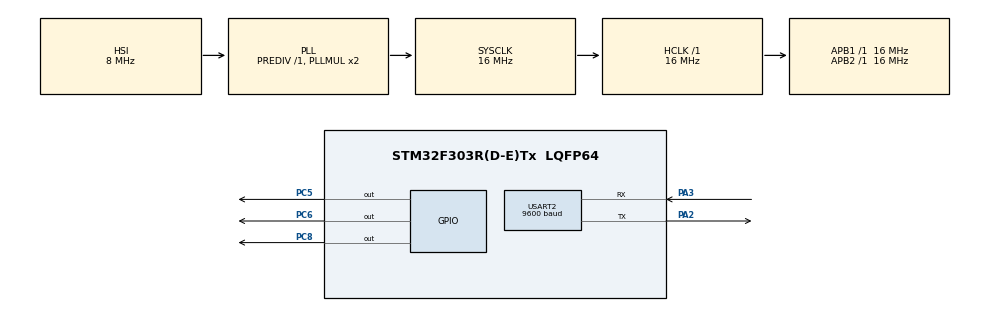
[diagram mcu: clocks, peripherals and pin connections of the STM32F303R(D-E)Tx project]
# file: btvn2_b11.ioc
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Mcu.Family=STM32F3
Mcu.Name=STM32F303R(D-E)Tx
Mcu.Package=LQFP64
NVIC.PriorityGroup=NVIC_PRIORITYGROUP_4
NVIC.TIM4_IRQn=true\:0\:0\:false\:false\:true\:true\:true
NVIC.USART2_IRQn=true\:0\:0\:false\:false\:true\:true\:true
PA13.Mode=Serial_Wire
PA13.Signal=SYS_JTMS-SWDIO
PA14.Mode=Serial_Wire
PA14.Signal=SYS_JTCK-SWCLK
PA2.Mode=Asynchronous
PA2.Signal=USART2_TX
PA3.Mode=Asynchronous
PA3.Signal=USART2_RX
PC5.Signal=GPIO_Output
PC6.Signal=GPIO_Output
PC8.Signal=GPIO_Output
ProjectManager.HeapSize=0x200
ProjectManager.StackSize=0x400
ProjectManager.TargetToolchain=STM32CubeIDE
RCC.AHBFreq_Value=16000000
RCC.APB1Freq_Value=16000000
RCC.APB1TimFreq_Value=16000000
RCC.APB2Freq_Value=16000000
RCC.APB2TimFreq_Value=16000000
RCC.CortexFreq_Value=16000000
RCC.HCLKFreq_Value=16000000
RCC.HSE_VALUE=8000000
RCC.HSI_VALUE=8000000
RCC.LSE_VALUE=32768
RCC.SYSCLKFreq_VALUE=16000000
RCC.SYSCLKSourceVirtual=RCC_SYSCLKSOURCE_PLLCLK
RCC.USBFreq_Value=16000000
TIM4.Period=999
TIM4.Prescaler=15999
USART2.BaudRate=9600
USART2.VirtualMode-Asynchronous=VM_ASYNC
VP_TIM4_VS_ClockSourceINT.Mode=Internal
board=custom

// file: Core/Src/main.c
/* USER CODE BEGIN Header */
/**
  ******************************************************************************
  * @file           : main.c
  * @brief          : Main program body
  ******************************************************************************
  * @attention
  *
  * <h2><center>&copy; Copyright (c) 2021 STMicroelectronics.
  * All rights reserved.</center></h2>
  *
  * This software component is licensed by ST under BSD 3-Clause license,
  * the "License"; You may not use this file except in compliance with the
  * License. You may obtain a copy of the License at:
  *                        opensource.org/licenses/BSD-3-Clause
  *
  ******************************************************************************
  */
/* USER CODE END Header */
#include "main.h"

/* USER CODE BEGIN Includes */
#include<stdlib.h>
/* USER CODE END Includes */

TIM_HandleTypeDef htim4;

UART_HandleTypeDef huart2;

/* USER CODE BEGIN PV */
uint8_t count = 0;
uint8_t count1 = 0;
uint8_t buff[10] = {0};
uint8_t rx_data[2]= {0};
uint8_t buff_red[3]= {0};
uint8_t buff_yellow[3]= {0};
uint8_t buff_green[3]= {0};
uint8_t red = 0;
uint8_t green = 0;
uint8_t yellow = 0;
/* USER CODE END PV */

void SystemClock_Config(void);
static void MX_GPIO_Init(void);
static void MX_TIM4_Init(void);
static void MX_USART2_UART_Init(void);

/* USER CODE BEGIN 0 */
void HAL_TIM_PeriodElapsedCallback(TIM_HandleTypeDef *htim){
	count++;
}
void HAL_UART_RxCpltCallback(UART_HandleTypeDef *huart){
	buff[count1] = rx_data[0];
	count1 ++;
	buff_red[0]= buff[0];
	buff_red[1]= buff[1];
	buff_yellow[0]= buff[2];
	buff_yellow[1]= buff[3];
	buff_green[0]= buff[4];
	buff_green[1]= buff[5];
	red = atoi(buff_red);
	yellow = atoi(buff_yellow);
	green = atoi(buff_green);
	if(rx_data[0] == '\r'){
		for(uint8_t i= 0;i<10;i++){
			buff[i]=0;
		}
		count1 =0;
	}
	HAL_UART_Receive_IT(&huart2,rx_data,1);
}
/* USER CODE END 0 */

int main(void)
{

  /* MCU Configuration--------------------------------------------------------*/

  /* Reset of all peripherals, Initializes the Flash interface and the Systick. */
  HAL_Init();

  /* Configure the system clock */
  SystemClock_Config();

  /* Initialize all configured peripherals */
  MX_GPIO_Init();
  MX_TIM4_Init();
  MX_USART2_UART_Init();
  /* USER CODE BEGIN 2 */
HAL_TIM_Base_Start_IT(&htim4);
HAL_UART_Receive_IT(&huart2,rx_data,1);
  /* USER CODE END 2 */

  /* Infinite loop */
  /* USER CODE BEGIN WHILE */
  while (1)
  {
	  if(count <= (red - 1)){
	  	HAL_GPIO_WritePin(GPIOC, GPIO_PIN_8,GPIO_PIN_SET);
	  	HAL_GPIO_WritePin(GPIOC, GPIO_PIN_6,GPIO_PIN_RESET);
	  	HAL_GPIO_WritePin(GPIOC, GPIO_PIN_5,GPIO_PIN_RESET);
	  }
	  else if(count <= (red + yellow -1)){
	  	HAL_GPIO_WritePin(GPIOC, GPIO_PIN_8,GPIO_PIN_RESET);
	  	HAL_GPIO_WritePin(GPIOC, GPIO_PIN_6,GPIO_PIN_SET);
	  	HAL_GPIO_WritePin(GPIOC, GPIO_PIN_5,GPIO_PIN_RESET);
	  }
	  else if(count <= (red + yellow + green -1)){
	  	HAL_GPIO_WritePin(GPIOC, GPIO_PIN_8,GPIO_PIN_RESET);
	  	HAL_GPIO_WritePin(GPIOC, GPIO_PIN_6,GPIO_PIN_RESET);
	  	HAL_GPIO_WritePin(GPIOC, GPIO_PIN_5,GPIO_PIN_SET);
	  }
	  else{
	  	count = 0;
	  }
    /* USER CODE END WHILE */

  }
}

void SystemClock_Config(void)
{
  RCC_OscInitTypeDef RCC_OscInitStruct = {0};
  RCC_ClkInitTypeDef RCC_ClkInitStruct = {0};
  RCC_PeriphCLKInitTypeDef PeriphClkInit = {0};

  /** Initializes the RCC Oscillators according to the specified parameters
  * in the RCC_OscInitTypeDef structure.
  */
  RCC_OscInitStruct.OscillatorType = RCC_OSCILLATORTYPE_HSI;
  RCC_OscInitStruct.HSIState = RCC_HSI_ON;
  RCC_OscInitStruct.HSICalibrationValue = RCC_HSICALIBRATION_DEFAULT;
  RCC_OscInitStruct.PLL.PLLState = RCC_PLL_ON;
  RCC_OscInitStruct.PLL.PLLSource = RCC_PLLSOURCE_HSI;
  RCC_OscInitStruct.PLL.PLLMUL = RCC_PLL_MUL2;
  RCC_OscInitStruct.PLL.PREDIV = RCC_PREDIV_DIV1;
  if (HAL_RCC_OscConfig(&RCC_OscInitStruct) != HAL_OK)
  {
    Error_Handler();
  }
  /** Initializes the CPU, AHB and APB buses clocks
  */
  RCC_ClkInitStruct.ClockType = RCC_CLOCKTYPE_HCLK|RCC_CLOCKTYPE_SYSCLK
                              |RCC_CLOCKTYPE_PCLK1|RCC_CLOCKTYPE_PCLK2;
  RCC_ClkInitStruct.SYSCLKSource = RCC_SYSCLKSOURCE_PLLCLK;
  RCC_ClkInitStruct.AHBCLKDivider = RCC_SYSCLK_DIV1;
  RCC_ClkInitStruct.APB1CLKDivider = RCC_HCLK_DIV1;
  RCC_ClkInitStruct.APB2CLKDivider = RCC_HCLK_DIV1;

  if (HAL_RCC_ClockConfig(&RCC_ClkInitStruct, FLASH_LATENCY_0) != HAL_OK)
  {
    Error_Handler();
  }
  PeriphClkInit.PeriphClockSelection = RCC_PERIPHCLK_USART2|RCC_PERIPHCLK_TIM34;
  PeriphClkInit.Usart2ClockSelection = RCC_USART2CLKSOURCE_PCLK1;
  PeriphClkInit.Tim34ClockSelection = RCC_TIM34CLK_HCLK;
  if (HAL_RCCEx_PeriphCLKConfig(&PeriphClkInit) != HAL_OK)
  {
    Error_Handler();
  }
}

static void MX_TIM4_Init(void)
{

  TIM_ClockConfigTypeDef sClockSourceConfig = {0};
  TIM_MasterConfigTypeDef sMasterConfig = {0};

  htim4.Instance = TIM4;
  htim4.Init.Prescaler = 15999;
  htim4.Init.CounterMode = TIM_COUNTERMODE_UP;
  htim4.Init.Period = 999;
  htim4.Init.ClockDivision = TIM_CLOCKDIVISION_DIV1;
  htim4.Init.AutoReloadPreload = TIM_AUTORELOAD_PRELOAD_DISABLE;
  if (HAL_TIM_Base_Init(&htim4) != HAL_OK)
  {
    Error_Handler();
  }
  sClockSourceConfig.ClockSource = TIM_CLOCKSOURCE_INTERNAL;
  if (HAL_TIM_ConfigClockSource(&htim4, &sClockSourceConfig) != HAL_OK)
  {
    Error_Handler();
  }
  sMasterConfig.MasterOutputTrigger = TIM_TRGO_RESET;
  sMasterConfig.MasterSlaveMode = TIM_MASTERSLAVEMODE_DISABLE;
  if (HAL_TIMEx_MasterConfigSynchronization(&htim4, &sMasterConfig) != HAL_OK)
  {
    Error_Handler();
  }

}

static void MX_USART2_UART_Init(void)
{

  huart2.Instance = USART2;
  huart2.Init.BaudRate = 9600;
  huart2.Init.WordLength = UART_WORDLENGTH_8B;
  huart2.Init.StopBits = UART_STOPBITS_1;
  huart2.Init.Parity = UART_PARITY_NONE;
  huart2.Init.Mode = UART_MODE_TX_RX;
  huart2.Init.HwFlowCtl = UART_HWCONTROL_NONE;
  huart2.Init.OverSampling = UART_OVERSAMPLING_16;
  huart2.Init.OneBitSampling = UART_ONE_BIT_SAMPLE_DISABLE;
  huart2.AdvancedInit.AdvFeatureInit = UART_ADVFEATURE_NO_INIT;
  if (HAL_UART_Init(&huart2) != HAL_OK)
  {
    Error_Handler();
  }

}

static void MX_GPIO_Init(void)
{
  GPIO_InitTypeDef GPIO_InitStruct = {0};

  /* GPIO Ports Clock Enable */
  __HAL_RCC_GPIOA_CLK_ENABLE();
  __HAL_RCC_GPIOC_CLK_ENABLE();

  /*Configure GPIO pin Output Level */
  HAL_GPIO_WritePin(GPIOC, GPIO_PIN_5|GPIO_PIN_6|GPIO_PIN_8, GPIO_PIN_RESET);

  /*Configure GPIO pins : PC5 PC6 PC8 */
  GPIO_InitStruct.Pin = GPIO_PIN_5|GPIO_PIN_6|GPIO_PIN_8;
  GPIO_InitStruct.Mode = GPIO_MODE_OUTPUT_PP;
  GPIO_InitStruct.Pull = GPIO_NOPULL;
  GPIO_InitStruct.Speed = GPIO_SPEED_FREQ_LOW;
  HAL_GPIO_Init(GPIOC, &GPIO_InitStruct);

}

void Error_Handler(void)
{
  __disable_irq();
  while (1)
  {
  }
}

/************************ (C) COPYRIGHT STMicroelectronics *****END OF FILE****/
